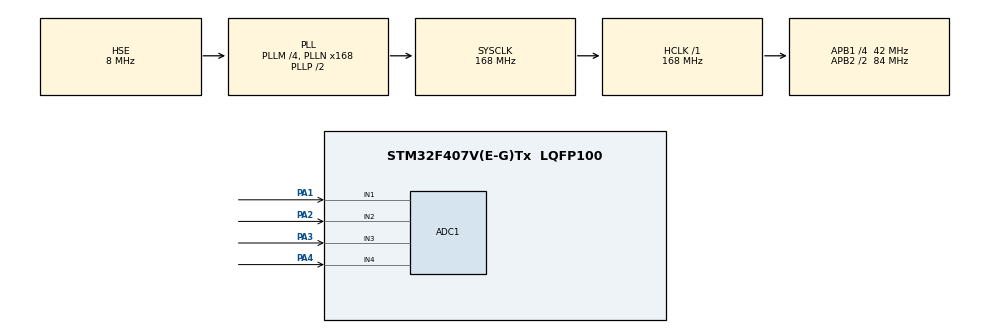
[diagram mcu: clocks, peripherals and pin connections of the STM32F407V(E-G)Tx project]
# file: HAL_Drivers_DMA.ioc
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ADC1.Channel-0\#ChannelRegularConversion=ADC_CHANNEL_1
ADC1.Channel-1\#ChannelRegularConversion=ADC_CHANNEL_2
ADC1.Channel-2\#ChannelRegularConversion=ADC_CHANNEL_3
ADC1.Channel-3\#ChannelRegularConversion=ADC_CHANNEL_4
ADC1.DMAContinuousRequests=ENABLE
ADC1.EOCSelection=ADC_EOC_SEQ_CONV
ADC1.ExternalTrigConv=ADC_EXTERNALTRIGCONV_T2_TRGO
ADC1.NbrOfConversion=4
ADC1.NbrOfConversionFlag=1
ADC1.Rank-0\#ChannelRegularConversion=1
ADC1.Rank-1\#ChannelRegularConversion=2
ADC1.Rank-2\#ChannelRegularConversion=3
ADC1.Rank-3\#ChannelRegularConversion=4
ADC1.SamplingTime-0\#ChannelRegularConversion=ADC_SAMPLETIME_480CYCLES
ADC1.SamplingTime-1\#ChannelRegularConversion=ADC_SAMPLETIME_3CYCLES
ADC1.SamplingTime-2\#ChannelRegularConversion=ADC_SAMPLETIME_3CYCLES
ADC1.SamplingTime-3\#ChannelRegularConversion=ADC_SAMPLETIME_3CYCLES
ADC1.ScanConvMode=ENABLE
ADC1.master=1
Dma.ADC1.0.Direction=DMA_PERIPH_TO_MEMORY
Dma.ADC1.0.FIFOMode=DMA_FIFOMODE_DISABLE
Dma.ADC1.0.Instance=DMA2_Stream0
Dma.ADC1.0.MemDataAlignment=DMA_MDATAALIGN_HALFWORD
Dma.ADC1.0.MemInc=DMA_MINC_ENABLE
Dma.ADC1.0.Mode=DMA_CIRCULAR
Dma.ADC1.0.PeriphDataAlignment=DMA_PDATAALIGN_HALFWORD
Dma.ADC1.0.PeriphInc=DMA_PINC_DISABLE
Dma.ADC1.0.Priority=DMA_PRIORITY_VERY_HIGH
Dma.Request0=ADC1
Mcu.Family=STM32F4
Mcu.Name=STM32F407V(E-G)Tx
Mcu.Package=LQFP100
NVIC.DMA2_Stream0_IRQn=true\:0\:0\:false\:false\:true\:false\:true\:true
NVIC.PriorityGroup=NVIC_PRIORITYGROUP_4
PA1.Signal=ADCx_IN1
PA2.Signal=ADCx_IN2
PA3.Signal=ADCx_IN3
PA4.Signal=ADCx_IN4
PH0-OSC_IN.Mode=HSE-External-Oscillator
PH0-OSC_IN.Signal=RCC_OSC_IN
PH1-OSC_OUT.Mode=HSE-External-Oscillator
PH1-OSC_OUT.Signal=RCC_OSC_OUT
ProjectManager.HeapSize=0x200
ProjectManager.StackSize=0x400
ProjectManager.TargetToolchain=STM32CubeIDE
RCC.48MHZClocksFreq_Value=84000000
RCC.AHBFreq_Value=168000000
RCC.APB1CLKDivider=RCC_HCLK_DIV4
RCC.APB1Freq_Value=42000000
RCC.APB1TimFreq_Value=84000000
RCC.APB2CLKDivider=RCC_HCLK_DIV2
RCC.APB2Freq_Value=84000000
RCC.APB2TimFreq_Value=168000000
RCC.CortexFreq_Value=168000000
RCC.HCLKFreq_Value=168000000
RCC.HSE_VALUE=8000000
RCC.HSI_VALUE=16000000
RCC.LSE_VALUE=32768
RCC.PLLM=4
RCC.PLLN=168
RCC.PLLSourceVirtual=RCC_PLLSOURCE_HSE
RCC.SYSCLKFreq_VALUE=168000000
RCC.SYSCLKSource=RCC_SYSCLKSOURCE_PLLCLK
RCC.VCOOutputFreq_Value=336000000
SH.ADCx_IN1.0=ADC1_IN1,IN1
SH.ADCx_IN2.0=ADC1_IN2,IN2
SH.ADCx_IN3.0=ADC1_IN3,IN3
SH.ADCx_IN4.0=ADC1_IN4,IN4
TIM2.Period=50000 - 1
TIM2.Prescaler=840-1
TIM2.TIM_MasterOutputTrigger=TIM_TRGO_UPDATE
TIM2.TIM_MasterSlaveMode=TIM_MASTERSLAVEMODE_ENABLE
VP_TIM2_VS_ClockSourceINT.Mode=Internal
board=custom

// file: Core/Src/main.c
/* USER CODE BEGIN Header */
/**
  ******************************************************************************
  * @file           : main.c
  * @brief          : Main program body
  ******************************************************************************
  * @attention
  *
  * Copyright (c) 2023 STMicroelectronics.
  * All rights reserved.
  *
  * This software is licensed under terms that can be found in the LICENSE file
  * in the root directory of this software component.
  * If no LICENSE file comes with this software, it is provided AS-IS.
  *
  ******************************************************************************
  */
/* USER CODE END Header */
#include "main.h"
#include "adc.h"
#include "dma.h"
#include "tim.h"
#include "gpio.h"

/* USER CODE BEGIN Includes */
#include <stdio.h>
/* USER CODE END Includes */

/* USER CODE BEGIN PV */

typedef struct{
	uint16_t ch1;
	uint16_t ch2;
	uint16_t ch3;
	uint16_t ch4;
}ADC_Channel_t;

typedef union{
	ADC_Channel_t adc;
	uint16_t d[4];
}ADC_Data_t;

ADC_Data_t data;
uint8_t complet = 0;
/* USER CODE END PV */

void SystemClock_Config(void);
/* USER CODE BEGIN PFP */
int __io_putchar(int ch){
	ITM_SendChar(ch);
	return ch;
}
/* USER CODE END PFP */

int main(void)
{
  /* USER CODE BEGIN 1 */
//	ADC_ChannelConfTypeDef sConfig = {0};
  /* USER CODE END 1 */

  /* MCU Configuration--------------------------------------------------------*/

  /* Reset of all peripherals, Initializes the Flash interface and the Systick. */
  HAL_Init();

  /* Configure the system clock */
  SystemClock_Config();

  /* Initialize all configured peripherals */
  MX_GPIO_Init();
  MX_DMA_Init();
  MX_ADC1_Init();
  MX_TIM2_Init();
  /* USER CODE BEGIN 2 */
//  sConfig.SamplingTime = ADC_SAMPLETIME_480CYCLES;
  HAL_ADC_Start_DMA(&hadc1, (uint32_t*)data.d, 4);
  HAL_TIM_Base_Start(&htim2);
  /* USER CODE END 2 */

  /* Infinite loop */
  while (1)
  {

    /* USER CODE BEGIN 3 */
//	  for(uint8_t i = 1; 1<= 4; i++){
//		  switch(i){
//		  case 1: sConfig.Channel = ADC_CHANNEL_1; break;
//		  case 2: sConfig.Channel = ADC_CHANNEL_2; break;
//		  case 3: sConfig.Channel = ADC_CHANNEL_3; break;
//		  case 4: sConfig.Channel = ADC_CHANNEL_4; break;
//		  }
//		  sConfig.Rank = 1;
//		  if (HAL_ADC_ConfigChannel(&hadc1, &sConfig) != HAL_OK)
//		  {
//		      Error_Handler();
//		  }
//		  sConfig.Rank = 2;
//		  if (HAL_ADC_ConfigChannel(&hadc1, &sConfig) != HAL_OK)
//		  		  {
//		  		      Error_Handler();
//		  		  }
//		  sConfig.Rank = 3;
//		  if (HAL_ADC_ConfigChannel(&hadc1, &sConfig) != HAL_OK)
//		  		  {
//		  		      Error_Handler();
//		  		  }
//		  sConfig.Rank = 4;
//		  if (HAL_ADC_ConfigChannel(&hadc1, &sConfig) != HAL_OK)
//		  		  {
//		  		      Error_Handler();
//		  		  }
//		  HAL_ADC_Start_DMA(&hadc1, (uint32_t*)data.d, 4);
//
//		HAL_ADC_PollForConversion(&hadc1, 10);
//		printf("in1->%u\r\n", data.adc.ch1);
//		printf("in2->%u\r\n", data.adc.ch2);
//		printf("in3->%u\r\n", data.adc.ch3);
//		printf("in4->%u\r\n", data.adc.ch4);
//		HAL_Delay(1000);
//	  }
		if(HAL_ADC_PollForConversion(&hadc1, 0)){
			//todo
	  		printf("in1->%u\r\n", data.adc.ch1);
	  		printf("in2->%u\r\n", data.adc.ch2);
	  		printf("in3->%u\r\n", data.adc.ch3);
	  		printf("in4->%u\r\n", data.adc.ch4);
		}

  }
  /* USER CODE END 3 */
}

void SystemClock_Config(void)
{
  RCC_OscInitTypeDef RCC_OscInitStruct = {0};
  RCC_ClkInitTypeDef RCC_ClkInitStruct = {0};

  /** Configure the main internal regulator output voltage
  */
  __HAL_RCC_PWR_CLK_ENABLE();
  __HAL_PWR_VOLTAGESCALING_CONFIG(PWR_REGULATOR_VOLTAGE_SCALE1);

  /** Initializes the RCC Oscillators according to the specified parameters
  * in the RCC_OscInitTypeDef structure.
  */
  RCC_OscInitStruct.OscillatorType = RCC_OSCILLATORTYPE_HSE;
  RCC_OscInitStruct.HSEState = RCC_HSE_ON;
  RCC_OscInitStruct.PLL.PLLState = RCC_PLL_ON;
  RCC_OscInitStruct.PLL.PLLSource = RCC_PLLSOURCE_HSE;
  RCC_OscInitStruct.PLL.PLLM = 4;
  RCC_OscInitStruct.PLL.PLLN = 168;
  RCC_OscInitStruct.PLL.PLLP = RCC_PLLP_DIV2;
  RCC_OscInitStruct.PLL.PLLQ = 4;
  if (HAL_RCC_OscConfig(&RCC_OscInitStruct) != HAL_OK)
  {
    Error_Handler();
  }

  /** Initializes the CPU, AHB and APB buses clocks
  */
  RCC_ClkInitStruct.ClockType = RCC_CLOCKTYPE_HCLK|RCC_CLOCKTYPE_SYSCLK
                              |RCC_CLOCKTYPE_PCLK1|RCC_CLOCKTYPE_PCLK2;
  RCC_ClkInitStruct.SYSCLKSource = RCC_SYSCLKSOURCE_PLLCLK;
  RCC_ClkInitStruct.AHBCLKDivider = RCC_SYSCLK_DIV1;
  RCC_ClkInitStruct.APB1CLKDivider = RCC_HCLK_DIV4;
  RCC_ClkInitStruct.APB2CLKDivider = RCC_HCLK_DIV2;

  if (HAL_RCC_ClockConfig(&RCC_ClkInitStruct, FLASH_LATENCY_5) != HAL_OK)
  {
    Error_Handler();
  }
}

/* USER CODE BEGIN 4 */
void HAL_ADC_ConvCpltCallback(ADC_HandleTypeDef* hadc)
{
	complet =1 ;
}
/* USER CODE END 4 */

void Error_Handler(void)
{
  __disable_irq();
  while (1)
  {
  }
}
